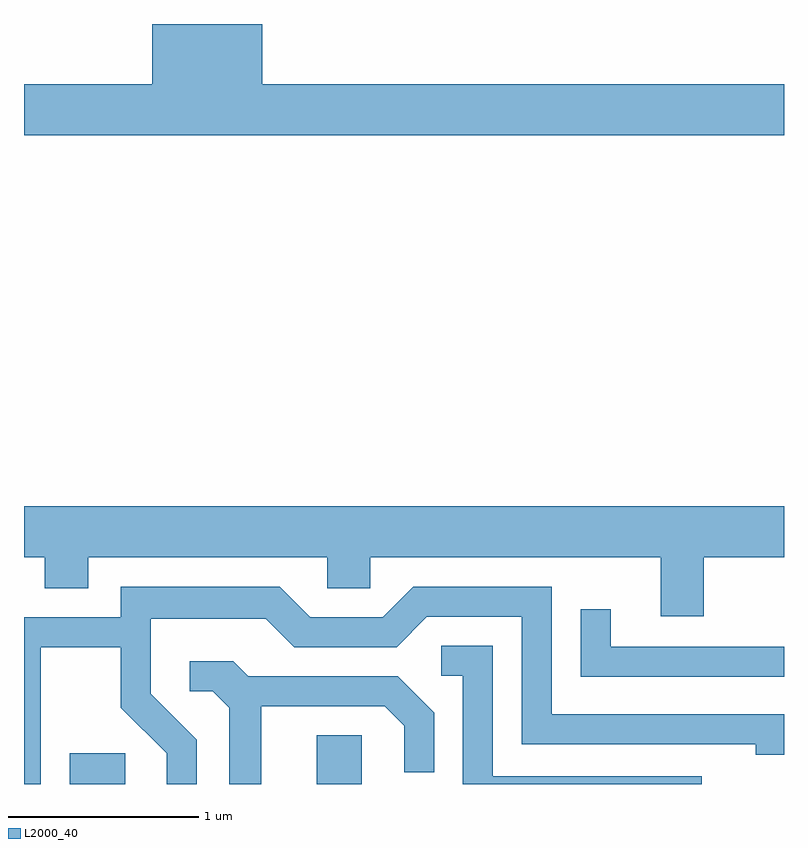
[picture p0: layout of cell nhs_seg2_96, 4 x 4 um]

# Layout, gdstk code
import gdstk
lib = gdstk.Library(unit=1e-6, precision=1e-09)
def R(c, l, rs):  # rectangles x0, y0, x1, y1
    for r in rs: c.add(gdstk.rectangle(r[:2], r[2:], *l))
def P(c, l, *ps):  # polygons
    for p in ps: c.add(gdstk.Polygon(p, *l))
L2000_40 = (2000, 40)

nhs_seg2_96 = lib.new_cell('nhs_seg2_96')
R(nhs_seg2_96, L2000_40, [(187.851,1033.802,188.144,1033.964), (189.151,1033.802,189.389,1034.059)])
P(nhs_seg2_96, L2000_40, [(191.611,1037.484),(188.864,1037.484),(188.864,1037.802),(188.286,1037.802),(188.286,1037.484),(187.611,1037.484),(187.611,1037.216),(191.611,1037.216)],
  [(191.189,1034.996),(191.611,1034.996),(191.611,1035.264),(187.611,1035.264),(187.611,1034.996),(187.721,1034.996),(187.721,1034.831),(187.949,1034.831),(187.949,1034.996),(189.206,1034.996),(189.206,1034.831),(189.434,1034.831),(189.434,1034.996),(190.961,1034.996),(190.961,1034.686),(191.189,1034.686)],
  [(187.699,1034.521),(188.121,1034.521),(188.121,1034.204),(188.361,1033.964),(188.361,1033.802),(188.519,1033.802),(188.519,1034.036),(188.279,1034.277),(188.279,1034.671),(188.884,1034.671),(189.034,1034.521),(189.572,1034.521),(189.732,1034.681),(190.231,1034.681),(190.231,1034.011),(191.461,1034.011),(191.461,1033.956),(191.611,1033.956),(191.611,1034.169),(190.389,1034.169),(190.389,1034.839),(189.659,1034.839),(189.499,1034.679),(189.117,1034.679),(188.957,1034.839),(188.121,1034.839),(188.121,1034.679),(187.611,1034.679),(187.611,1033.802),(187.699,1033.802)],
  [(191.611,1034.524),(190.699,1034.524),(190.699,1034.723),(190.541,1034.723),(190.541,1034.366),(191.611,1034.366)],
  [(191.178,1033.844),(190.079,1033.844),(190.079,1034.529),(189.808,1034.529),(189.808,1034.371),(189.921,1034.371),(189.921,1033.802),(191.178,1033.802)],
  [(188.859,1034.211),(189.509,1034.211),(189.611,1034.109),(189.611,1033.863),(189.769,1033.863),(189.769,1034.177),(189.577,1034.369),(188.792,1034.369),(188.712,1034.449),(188.483,1034.449),(188.483,1034.291),(188.604,1034.291),(188.691,1034.204),(188.691,1033.802),(188.859,1033.802)])

lib.write_gds('nhs_seg2_96.gds')
